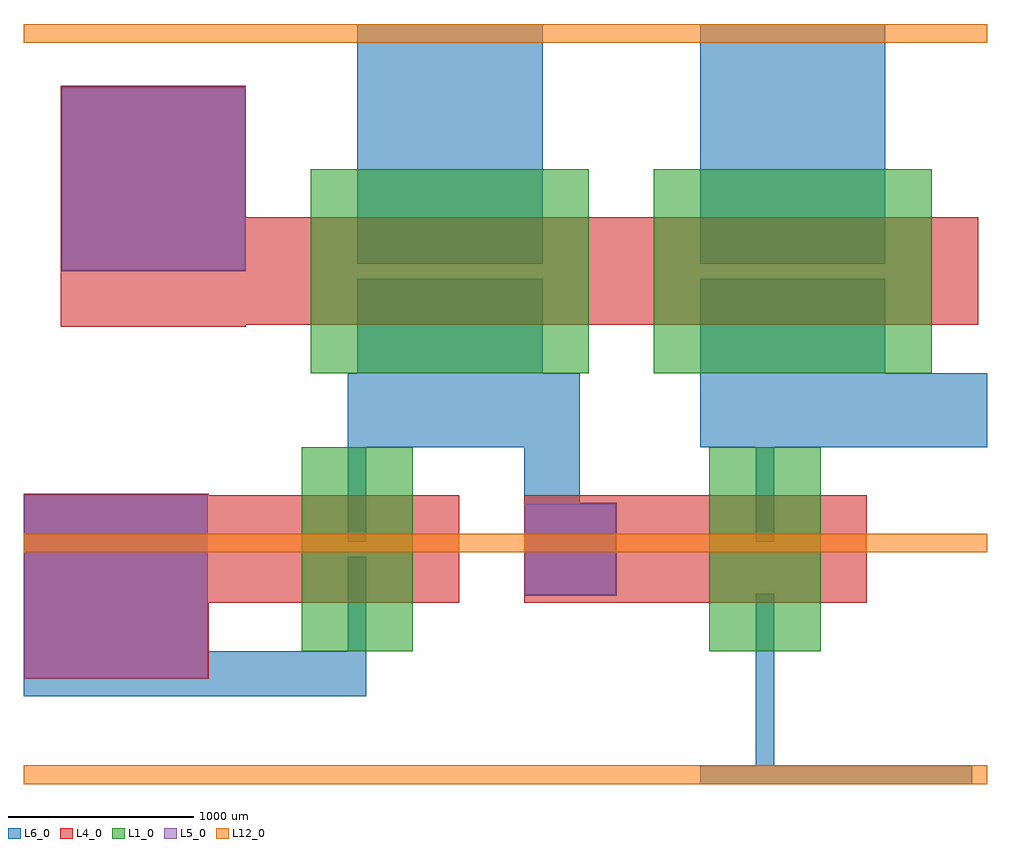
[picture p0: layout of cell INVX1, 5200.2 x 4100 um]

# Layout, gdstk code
import gdstk
lib = gdstk.Library(unit=1e-6, precision=1e-09)
def R(c, l, rs):  # rectangles x0, y0, x1, y1
    for r in rs: c.add(gdstk.rectangle(r[:2], r[2:], *l))
L1_0 = (1, 0)
L4_0 = (4, 0)
L5_0 = (5, 0)
L6_0 = (6, 0)
L12_0 = (12, 0)

text_d_m2 = lib.new_cell('text_D_m2')

text_v_m2 = lib.new_cell('text_V_m2')

text_vdd_m2 = lib.new_cell('text_VDD_m2')
text_vdd_m2.add(gdstk.Reference(text_d_m2, (280,0)))
text_vdd_m2.add(gdstk.Reference(text_d_m2, (560,0)))
text_vdd_m2.add(gdstk.Reference(text_v_m2, (0,0)))

text_s_m2 = lib.new_cell('text_S_m2')

text_vss_m2 = lib.new_cell('text_VSS_m2')
text_vss_m2.add(gdstk.Reference(text_s_m2, (280,0)))
text_vss_m2.add(gdstk.Reference(text_s_m2, (560,0)))
text_vss_m2.add(gdstk.Reference(text_v_m2, (0,0)))

invx1 = lib.new_cell('INVX1')
R(invx1, L1_0, [(1500,716.6,2100,1816.6), (3700,716.6,4300,1816.6), (1550,2216.6,3050,3316.6), (3400,2216.6,4900,3316.6)])
R(invx1, L4_0, [(0,566.6,1000,1566.6), (600,976.6,2350,1556.6), (2700,976.6,4550,1556.6), (200,2466.6,1200,3766.6), (200,2476.6,2850,3056.6), (2650,2476.6,5150,3056.6)])
R(invx1, L5_0, [(5,571.6,995,1561.6), (2705,1021.6,3195,1511.6), (205,2771.6,1195,3761.6)])
R(invx1, L6_0, [(3650,0,5118.6,99.8), (3950,0.1,4050,1025.6), (0,473,1850,716.6), (0.4,616.6,994.9,1563.9), (1750,666.6,1850,1226.6), (2700,1016.6,3000,2216.6), (2700,1016.6,3200,1516.6), (1750,1306.6,1850,1866.6), (3950,1306.6,4050,2166.6), (1750,1816.6,2800,2216.6), (3650,1816.6,5200.2,2216.6), (1800,2166.6,2800,2726.6), (3650,2166.6,4650,2726.6), (200,2766.9,1200.1,3756.9), (1800,2806.6,2800,4099.7), (3650,2806.6,4650,4099)])
R(invx1, L12_0, [(0,0,5200,100), (0.9,1250,5200,1350), (0,4000,5199.9,4100)])
invx1.add(gdstk.Reference(text_vdd_m2, (1785,3099.836)))
invx1.add(gdstk.Reference(text_vss_m2, (139.253,773.587)))

lib.write_gds('INVX1.gds')
